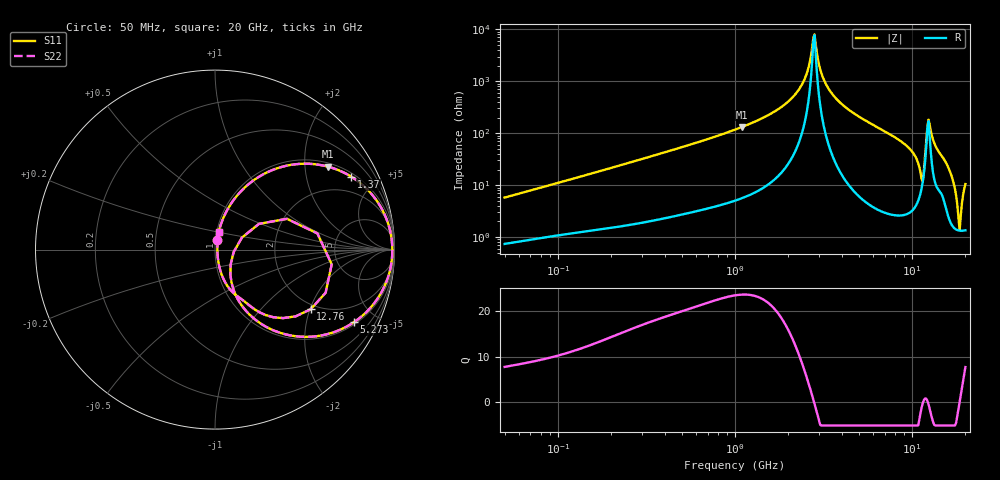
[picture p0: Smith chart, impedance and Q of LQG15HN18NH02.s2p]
!Murata Part Number: LQG15HN18NH02
!These Parameters are Measured in Series Mode Connection
!  o--[Z]--o
!Port1  Port2
!  o-------o
!Freq. Start=50[MHz] Stop=20[GHz], 401[Steps]
# Hz S RI R 50
!Freq.(Hz) S11(Real) S11(Imag) S21(Real) S21(Imag) S12(Real) S12(Imag) S22(Real) S22(Imag)
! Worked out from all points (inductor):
!   401 points, 50 MHz to 20 GHz, reference 50 ohm
!   read as one part in series: L = 17.9 nH near 51.52 MHz
!   highest Q = 23.5 at 1.094 GHz (marker M1), where L = 19.1 nH
!   self-resonance near 2.769 GHz
!   S11 on the Smith chart (normalised r, x): 50 MHz: 1.01, +0.11; 1.37 GHz: 1.16, +3.65; 5.273 GHz: 1.10, -3.75; 12.76 GHz: 1.84, -2.03; 20 GHz: 1.03, +0.21
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5e7  0.0105 0.056  0.9895 -0.056  0.9895 -0.056  0.0105 0.056
1.364002e8  0.0329 0.1411  0.9671 -0.1411  0.9671 -0.1411  0.0329 0.1411
3.721004e8  0.1496 0.3302  0.8504 -0.3302  0.8504 -0.3302  0.1496 0.3302
1e9  0.575 0.4734  0.425 -0.4734  0.425 -0.4734  0.575 0.4734
1.094034e9  0.6287 0.4624  0.3713 -0.4624  0.3713 -0.4624  0.6287 0.4624
1.369645e9  0.7595 0.4061  0.2405 -0.4061  0.2405 -0.4061  0.7595 0.4061
2.245319e9  0.9626 0.151  0.0374 -0.151  0.0374 -0.151  0.9626 0.151
2.531158e9  0.9823 0.0703  0.0177 -0.0703  0.0177 -0.0703  0.9823 0.0703
2.728004e9  0.9875 0.0181  0.0125 -0.0181  0.0125 -0.0181  0.9875 0.0181
2.853386e9  0.9879 -0.0136  0.0121 0.0136  0.0121 0.0136  0.9879 -0.0136
3.075291e9  0.9838 -0.0668  0.0162 0.0668  0.0162 0.0668  0.9838 -0.0668
3.466789e9  0.9648 -0.1514  0.0352 0.1514  0.0352 0.1514  0.9648 -0.1514
5.273168e9  0.7728 -0.4054  0.2272 0.4054  0.2272 0.4054  0.7728 -0.4054
7.442007e9  0.4837 -0.4857  0.5163 0.4857  0.5163 0.4857  0.4837 -0.4857
9.892087e9  0.1931 -0.3626  0.8069 0.3626  0.8069 0.3626  0.1931 -0.3626
1.131968e10  0.0873 -0.0819  0.9127 0.0819  0.9127 0.0819  0.0873 -0.0819
1.201863e10  0.4007 0.1715  0.5993 -0.1715  0.5993 -0.1715  0.4007 0.1715
1.276073e10  0.5334 -0.3323  0.4666 0.3323  0.4666 0.3323  0.5334 -0.3323
1.375312e10  0.2467 -0.3487  0.7533 0.3487  0.7533 0.3487  0.2467 -0.3487
1.621653e10  0.0563 -0.1816  0.9437 0.1816  0.9437 0.1816  0.0563 -0.1816
1.855685e10  0.0131 0.00177  0.9869 -0.00177  0.9869 -0.00177  0.0131 0.00177
2e10  0.0236 0.1001  0.9764 -0.1001  0.9764 -0.1001  0.0236 0.1001
